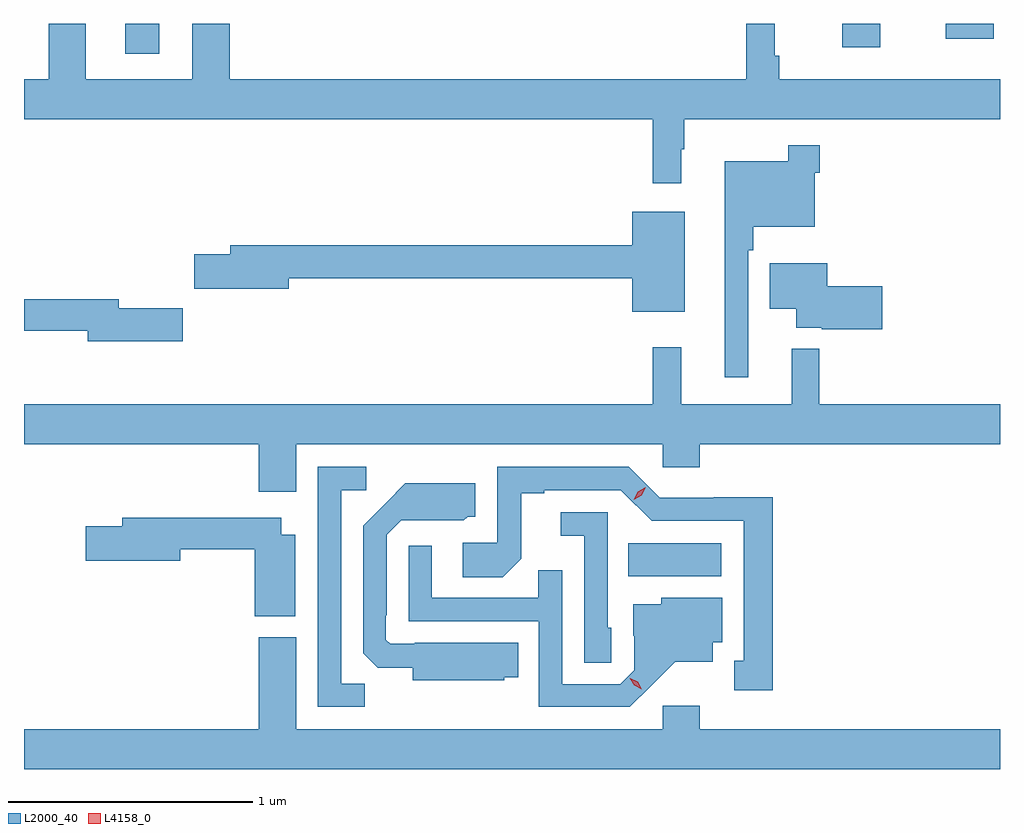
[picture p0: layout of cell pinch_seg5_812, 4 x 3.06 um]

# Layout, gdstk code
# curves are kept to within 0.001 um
import gdstk
lib = gdstk.Library(unit=1e-6, precision=1e-09)
def R(c, l, rs):  # rectangles x0, y0, x1, y1
    for r in rs: c.add(gdstk.rectangle(r[:2], r[2:], *l))
def P(c, l, *ps):  # polygons
    for p in ps: c.add(gdstk.Polygon(p, *l))
L2000_40 = (2000, 40)
L4158_0 = (4158, 0)

pinch_seg5_812 = lib.new_cell('pinch_seg5_812')
R(pinch_seg5_812, L2000_40, [(783.166,874.868,783.547,875.002), (781.103,877.008,781.243,877.132), (784.043,877.035,784.198,877.132), (784.467,877.07,784.664,877.132)])
P(pinch_seg5_812, L2000_40, [(783.265,876.477),(783.382,876.477),(783.382,876.617),(783.394,876.617),(783.394,876.74),(784.689,876.74),(784.689,876.904),(783.785,876.904),(783.785,877),(783.765,877),(783.765,877.132),(783.649,877.132),(783.649,876.904),(781.532,876.904),(781.532,877.132),(781.379,877.132),(781.379,876.904),(780.943,876.904),(780.943,877.132),(780.791,877.132),(780.791,876.904),(780.689,876.904),(780.689,876.74),(783.265,876.74)],
  [(783.657,876.203),(783.677,876.203),(783.677,876.299),(783.93,876.299),(783.93,876.521),(783.95,876.521),(783.95,876.634),(783.822,876.634),(783.822,876.568),(783.56,876.568),(783.56,875.682),(783.657,875.682)],
  [(783.397,876.361),(783.182,876.361),(783.182,876.224),(781.535,876.224),(781.535,876.188),(781.386,876.188),(781.386,876.046),(781.774,876.046),(781.774,876.088),(783.182,876.088),(783.182,875.951),(783.397,875.951)],
  [(784.207,876.056),(783.982,876.056),(783.982,876.151),(783.746,876.151),(783.746,875.963),(783.854,875.963),(783.854,875.885),(783.958,875.885),(783.958,875.88),(784.207,875.88)],
  [(781.339,875.966),(781.078,875.966),(781.078,876.002),(780.689,876.002),(780.689,875.874),(780.95,875.874),(780.95,875.831),(781.339,875.831)],
  [(781.804,875.408),(783.306,875.408),(783.306,875.315),(783.458,875.315),(783.458,875.408),(784.689,875.408),(784.689,875.572),(783.948,875.572),(783.948,875.8),(783.836,875.8),(783.836,875.572),(783.383,875.572),(783.383,875.806),(783.265,875.806),(783.265,875.572),(780.689,875.572),(780.689,875.408),(781.652,875.408),(781.652,875.214),(781.804,875.214)],
  [(783.757,875.192),(783.516,875.192),(783.516,875.19),(783.294,875.19),(783.168,875.316),(782.628,875.316),(782.628,875.004),(782.487,875.004),(782.487,874.864),(782.651,874.864),(782.727,874.94),(782.727,875.208),(782.821,875.208),(782.821,875.22),(783.135,875.22),(783.261,875.094),(783.638,875.094),(783.638,874.521),(783.599,874.521),(783.599,874.401),(783.757,874.401)],
  [(782.085,874.427),(781.989,874.427),(781.989,875.22),(782.092,875.22),(782.092,875.316),(781.893,875.316),(781.893,874.332),(782.085,874.332)],
  [(782.658,874.454),(782.714,874.454),(782.714,874.594),(782.29,874.594),(782.29,874.59),(782.19,874.59),(782.172,874.608),(782.172,874.708),(782.175,874.708),(782.175,875.037),(782.235,875.097),(782.492,875.096),(782.508,875.112),(782.539,875.112),(782.539,875.248),(782.251,875.248),(782.079,875.074),(782.079,874.552),(782.138,874.493),(782.282,874.493),(782.282,874.442),(782.658,874.442)],
  [(783.096,874.656),(783.081,874.656),(783.081,875.13),(782.889,875.13),(782.889,875.033),(782.985,875.033),(782.985,874.513),(783.096,874.513)],
  [(781.801,875.038),(781.744,875.038),(781.744,875.107),(781.091,875.107),(781.091,875.073),(780.942,875.073),(780.942,874.931),(781.33,874.931),(781.33,874.978),(781.634,874.978),(781.634,874.703),(781.801,874.703)],
  [(783.256,874.415),(783.359,874.517),(783.511,874.517),(783.511,874.596),(783.55,874.596),(783.55,874.78),(783.3,874.78),(783.3,874.753),(783.185,874.753),(783.185,874.624),(783.189,874.624),(783.189,874.482),(783.132,874.425),(782.895,874.425),(782.895,874.892),(782.797,874.892),(782.797,874.779),(782.361,874.779),(782.361,874.993),(782.265,874.993),(782.265,874.683),(782.799,874.683),(782.799,874.332),(783.172,874.332)],
  [(784.689,874.24),(783.458,874.24),(783.458,874.336),(783.306,874.336),(783.306,874.24),(781.804,874.24),(781.804,874.618),(781.652,874.618),(781.652,874.24),(780.689,874.24),(780.689,874.076),(784.689,874.076)])
P(pinch_seg5_812, L4158_0, [(783.188,875.181),(783.188,875.181),(783.205,875.213),(783.237,875.232),(783.237,875.232),(783.237,875.232),(783.22,875.2),(783.188,875.181)],
  [(783.221,874.405),(783.19,874.42),(783.172,874.449),(783.172,874.449),(783.173,874.449),(783.204,874.434),(783.221,874.405),(783.221,874.405)])

lib.write_gds('pinch_seg5_812.gds')
